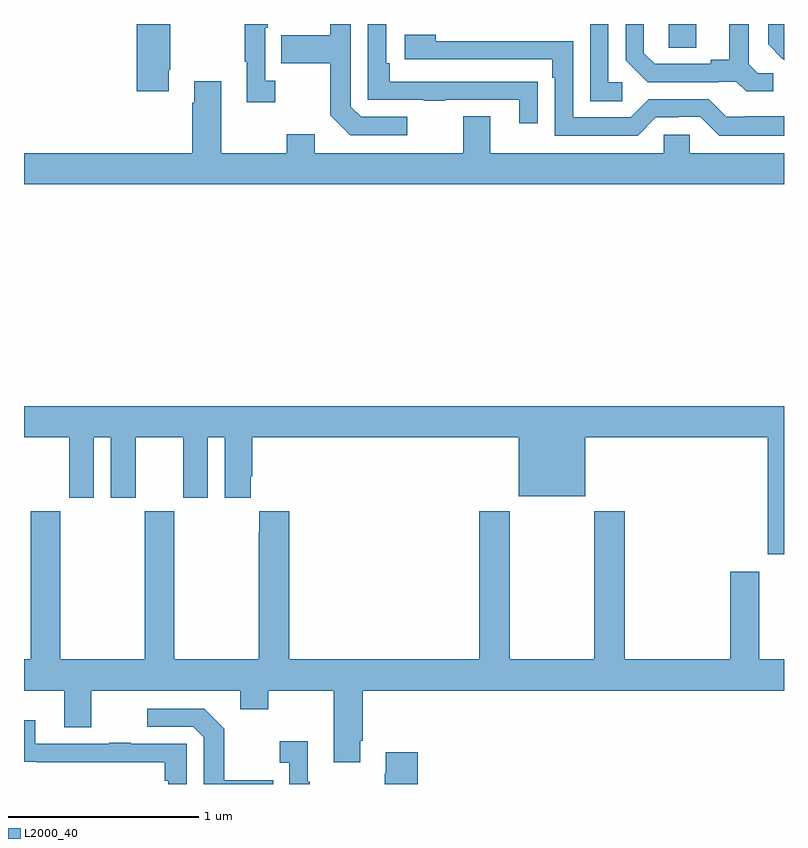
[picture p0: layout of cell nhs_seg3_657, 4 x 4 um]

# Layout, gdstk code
import gdstk
lib = gdstk.Library(unit=1e-6, precision=1e-09)
def R(c, l, rs):  # rectangles x0, y0, x1, y1
    for r in rs: c.add(gdstk.rectangle(r[:2], r[2:], *l))
def P(c, l, *ps):  # polygons
    for p in ps: c.add(gdstk.Polygon(p, *l))
L2000_40 = (2000, 40)

nhs_seg3_657 = lib.new_cell('nhs_seg3_657')
R(nhs_seg3_657, L2000_40, [(146.394,728.275,146.539,728.4)])
P(nhs_seg3_657, L2000_40, [(146.944,728.142),(146.862,728.142),(146.815,728.189),(146.815,728.4),(146.711,728.4),(146.711,728.213),(146.615,728.213),(146.615,728.19),(146.32,728.19),(146.263,728.247),(146.263,728.4),(146.166,728.4),(146.166,728.21),(146.282,728.094),(146.654,728.094),(146.654,728.097),(146.748,728.097),(146.8,728.045),(146.944,728.045)],
  [(143.761,728.158),(143.769,728.158),(143.769,728.4),(143.594,728.4),(143.594,728.046),(143.761,728.046)],
  [(145.018,727.911),(144.774,727.911),(144.72,727.965),(144.72,728.4),(144.612,728.4),(144.612,728.341),(144.355,728.341),(144.355,728.194),(144.612,728.194),(144.612,727.921),(144.717,727.815),(145.018,727.815)],
  [(147,728.4),(146.916,728.4),(146.916,728.294),(146.989,728.221),(146.988,728.22),(147,728.208)],
  [(146.149,728.094),(146.076,728.094),(146.076,728.4),(145.98,728.4),(145.98,727.993),(146.149,727.993)],
  [(145.703,728.096),(145.601,728.096),(145.601,728.097),(144.926,728.097),(144.926,728.194),(144.906,728.194),(144.906,728.4),(144.81,728.4),(144.81,728.001),(145.105,728.001),(145.105,727.996),(145.217,727.996),(145.217,728.001),(145.607,728.001),(145.607,727.878),(145.703,727.878)],
  [(144.322,728.102),(144.27,728.102),(144.27,728.381),(144.283,728.381),(144.283,728.4),(144.162,728.4),(144.162,728.201),(144.173,728.201),(144.173,727.989),(144.322,727.989)],
  [(147,727.915),(146.797,727.915),(146.797,727.911),(146.697,727.911),(146.604,728.004),(146.289,728.004),(146.193,727.908),(145.89,727.908),(145.89,728.31),(145.166,728.31),(145.166,728.344),(145.005,728.344),(145.005,728.214),(145.781,728.214),(145.781,728.117),(145.794,728.117),(145.794,727.812),(146.229,727.812),(146.325,727.908),(146.444,727.908),(146.444,727.911),(146.559,727.911),(146.659,727.811),(147,727.811)],
  [(147,727.72),(146.505,727.72),(146.505,727.818),(146.367,727.818),(146.367,727.72),(145.453,727.72),(145.453,727.915),(145.313,727.915),(145.313,727.72),(144.529,727.72),(144.529,727.819),(144.382,727.819),(144.382,727.72),(144.037,727.72),(144.037,728.098),(143.897,728.098),(143.897,727.985),(143.885,727.985),(143.885,727.72),(143,727.72),(143,727.556),(147,727.556)],
  [(147,726.388),(143,726.388),(143,726.224),(143.237,726.224),(143.237,725.907),(143.368,725.907),(143.368,726.224),(143.456,726.224),(143.456,725.907),(143.587,725.907),(143.587,726.224),(143.837,726.224),(143.837,725.907),(143.968,725.907),(143.968,726.224),(144.056,726.224),(144.056,725.907),(144.193,725.907),(144.193,726.019),(144.2,726.019),(144.2,726.224),(145.604,726.224),(145.604,725.915),(145.954,725.915),(145.954,726.224),(146.915,726.224),(146.915,725.61),(147,725.61)],
  [(144.769,724.627),(144.782,724.627),(144.782,724.892),(147,724.892),(147,725.056),(146.869,725.056),(146.869,725.518),(146.717,725.518),(146.717,725.056),(146.162,725.056),(146.162,725.836),(146.002,725.836),(146.002,725.056),(145.557,725.056),(145.557,725.836),(145.397,725.836),(145.397,725.056),(144.395,725.056),(144.395,725.836),(144.239,725.836),(144.239,725.723),(144.235,725.723),(144.235,725.056),(143.79,725.056),(143.79,725.836),(143.635,725.836),(143.635,725.056),(143.19,725.056),(143.19,725.836),(143.035,725.836),(143.035,725.056),(143,725.056),(143,724.892),(143.213,724.892),(143.213,724.698),(143.353,724.698),(143.353,724.892),(144.137,724.892),(144.137,724.793),(144.285,724.793),(144.285,724.892),(144.629,724.892),(144.629,724.515),(144.769,724.515)],
  [(144.311,724.419),(144.055,724.419),(144.055,724.691),(143.949,724.797),(143.649,724.797),(143.649,724.701),(143.892,724.701),(143.946,724.647),(143.946,724.4),(144.311,724.4)],
  [(143.856,724.611),(143.561,724.611),(143.561,724.616),(143.449,724.616),(143.449,724.611),(143.059,724.611),(143.059,724.735),(143,724.735),(143,724.516),(143.065,724.516),(143.065,724.515),(143.74,724.515),(143.74,724.418),(143.76,724.418),(143.76,724.4),(143.856,724.4)],
  [(144.505,724.411),(144.493,724.411),(144.493,724.624),(144.345,724.624),(144.345,724.511),(144.396,724.511),(144.396,724.4),(144.505,724.4)],
  [(145.073,724.567),(144.905,724.567),(144.905,724.454),(144.898,724.454),(144.898,724.4),(145.073,724.4)])

lib.write_gds('nhs_seg3_657.gds')
